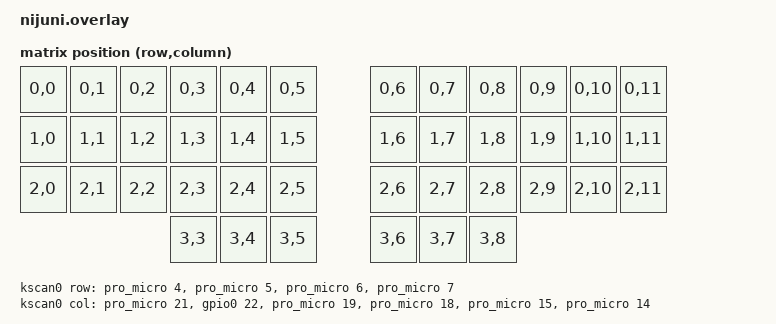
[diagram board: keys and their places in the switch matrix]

#include <dt-bindings/zmk/matrix_transform.h>

/ {
    chosen {
        zmk,kscan = &kscan0;
        zmk,matrix_transform = &default_transform;
    };

    default_transform: keymap_transform_0 {
        compatible = "zmk,matrix-transform";
        columns = <12>;
        rows = <4>;
// | SW1  | SW2  | SW3  | SW4  | SW5  | SW6  |   | SW6  | SW5  | SW4  | SW3  | SW2  | SW1  |
// | SW7  | SW8  | SW9  | SW10 | SW11 | SW12 |   | SW12 | SW11 | SW10 | SW9  | SW8  | SW7  |
// | SW13 | SW14 | SW15 | SW16 | SW17 | SW18 |   | SW18 | SW17 | SW16 | SW15 | SW14 | SW13 |
//                      | SW19 | SW20 | SW21 |   | SW21 | SW20 | SW19 |
        map = <
RC(0,0) RC(0,1) RC(0,2) RC(0,3) RC(0,4) RC(0,5)  RC(0,6) RC(0,7) RC(0,8) RC(0,9) RC(0,10) RC(0,11)
RC(1,0) RC(1,1) RC(1,2) RC(1,3) RC(1,4) RC(1,5)  RC(1,6) RC(1,7) RC(1,8) RC(1,9) RC(1,10) RC(1,11)
RC(2,0) RC(2,1) RC(2,2) RC(2,3) RC(2,4) RC(2,5)  RC(2,6) RC(2,7) RC(2,8) RC(2,9) RC(2,10) RC(2,11)
                        RC(3,3) RC(3,4) RC(3,5)  RC(3,6) RC(3,7) RC(3,8)
        >;
    };

    kscan0: kscan {
        compatible = "zmk,kscan-gpio-matrix";
        wakeup-source;

        diode-direction = "col2row";
        
        // Nijuni Pinout Definition
        // Rows: Standard Corne (usually D4, D5, D6, D7)
        row-gpios
            = <&pro_micro 4 (GPIO_ACTIVE_HIGH | GPIO_PULL_DOWN)> // Row 0
            , <&pro_micro 5 (GPIO_ACTIVE_HIGH | GPIO_PULL_DOWN)> // Row 1
            , <&pro_micro 6 (GPIO_ACTIVE_HIGH | GPIO_PULL_DOWN)> // Row 2
            , <&pro_micro 7 (GPIO_ACTIVE_HIGH | GPIO_PULL_DOWN)> // Row 3
            ;

        // Columns:
        // Col 0: Q/A/Z -> Pro Micro 21 (P0.31)
        // Col 1: W/S/X -> P0.22 (Nijuni Specific!)
        // Col 2: E/D/C -> Pro Micro 19 (P0.08)
        // Col 3: R/F/V -> Pro Micro 18 (P0.06)
        // Col 4: T/G/B -> Pro Micro 15 (P0.02 ?) Check mapping!
        // Col 5: Thumb -> Pro Micro 14 (P1.15 ?)
        
        col-gpios
            = <&pro_micro 21 GPIO_ACTIVE_HIGH>
            , <&gpio0 22 GPIO_ACTIVE_HIGH>      // FIX: Nijuni uses P0.22 directly for Col 1
            , <&pro_micro 19 GPIO_ACTIVE_HIGH>
            , <&pro_micro 18 GPIO_ACTIVE_HIGH>
            , <&pro_micro 15 GPIO_ACTIVE_HIGH>
            , <&pro_micro 14 GPIO_ACTIVE_HIGH>
            ;
    };
};
